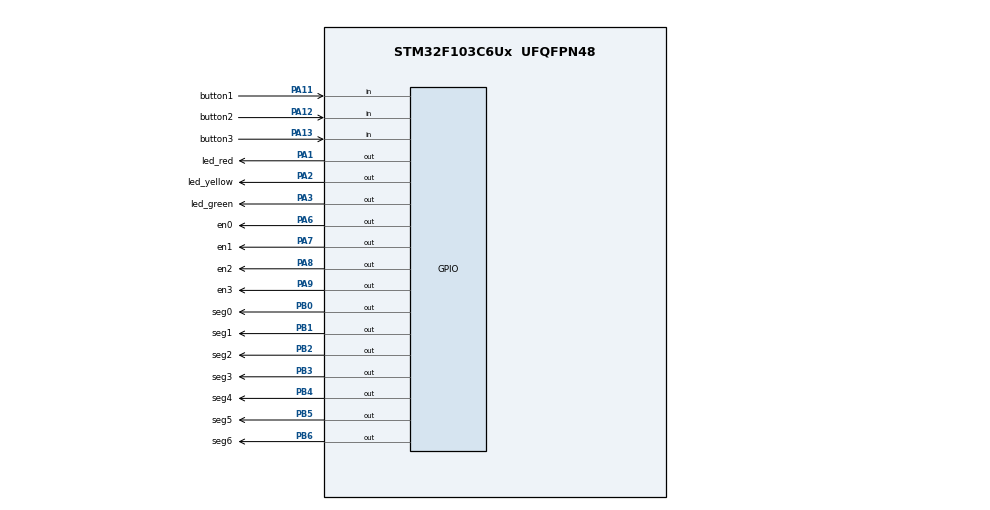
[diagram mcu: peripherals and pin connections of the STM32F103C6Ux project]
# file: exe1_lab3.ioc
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Mcu.Family=STM32F1
Mcu.Name=STM32F103C6Ux
Mcu.Package=UFQFPN48
NVIC.PriorityGroup=NVIC_PRIORITYGROUP_4
NVIC.TIM2_IRQn=true\:0\:0\:false\:false\:true\:true\:true\:true
PA1.GPIO_Label=led_red
PA1.Signal=GPIO_Output
PA11.GPIO_Label=button1
PA11.GPIO_PuPd=GPIO_PULLUP
PA11.Signal=GPIO_Input
PA12.GPIO_Label=button2
PA12.GPIO_PuPd=GPIO_PULLUP
PA12.Signal=GPIO_Input
PA13.GPIO_Label=button3
PA13.GPIO_PuPd=GPIO_PULLUP
PA13.Signal=GPIO_Input
PA2.GPIO_Label=led_yellow
PA2.Signal=GPIO_Output
PA3.GPIO_Label=led_green
PA3.Signal=GPIO_Output
PA6.GPIO_Label=en0
PA6.Signal=GPIO_Output
PA7.GPIO_Label=en1
PA7.Signal=GPIO_Output
PA8.GPIO_Label=en2
PA8.Signal=GPIO_Output
PA9.GPIO_Label=en3
PA9.Signal=GPIO_Output
PB0.GPIO_Label=seg0
PB0.Signal=GPIO_Output
PB1.GPIO_Label=seg1
PB1.Signal=GPIO_Output
PB2.GPIO_Label=seg2
PB2.Signal=GPIO_Output
PB3.GPIO_Label=seg3
PB3.Signal=GPIO_Output
PB4.GPIO_Label=seg4
PB4.Signal=GPIO_Output
PB5.GPIO_Label=seg5
PB5.Signal=GPIO_Output
PB6.GPIO_Label=seg6
PB6.Signal=GPIO_Output
ProjectManager.HeapSize=0x200
ProjectManager.StackSize=0x400
ProjectManager.TargetToolchain=STM32CubeIDE
RCC.APB1Freq_Value=8000000
RCC.APB2Freq_Value=8000000
TIM2.Period=9
TIM2.Prescaler=7999
VP_TIM2_VS_ClockSourceINT.Mode=Internal
board=custom

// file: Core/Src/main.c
/* USER CODE BEGIN Header */
/**
  ******************************************************************************
  * @file           : main.c
  * @brief          : Main program body
  ******************************************************************************
  * @attention
  *
  * Copyright (c) 2022 STMicroelectronics.
  * All rights reserved.
  *
  * This software is licensed under terms that can be found in the LICENSE file
  * in the root directory of this software component.
  * If no LICENSE file comes with this software, it is provided AS-IS.
  *
  ******************************************************************************
  */
/* USER CODE END Header */
#include "main.h"

/* USER CODE BEGIN Includes */
#include "global.h"
#include "manual.h"
#include "fsm.h"
/* USER CODE END Includes */

TIM_HandleTypeDef htim2;

void SystemClock_Config(void);
static void MX_GPIO_Init(void);
static void MX_TIM2_Init(void);

/* USER CODE BEGIN 0 */
int status = 0;
int red_time = 1;
int yellow_time = 1;
int green_time = 1;
void display7SEG(int num){
	  if(num == 0){
		  HAL_GPIO_WritePin(seg0_GPIO_Port, seg0_Pin, RESET);
		  HAL_GPIO_WritePin(seg1_GPIO_Port, seg1_Pin, RESET);
		  HAL_GPIO_WritePin(seg2_GPIO_Port, seg2_Pin, RESET);
		  HAL_GPIO_WritePin(seg3_GPIO_Port, seg3_Pin, RESET);
		  HAL_GPIO_WritePin(seg4_GPIO_Port, seg4_Pin, RESET);
		  HAL_GPIO_WritePin(seg5_GPIO_Port, seg5_Pin, RESET);
		  HAL_GPIO_WritePin(seg6_GPIO_Port, seg6_Pin, SET);
	  }
	  if(num == 1){
		  HAL_GPIO_WritePin(seg0_GPIO_Port, seg0_Pin, SET);
		  HAL_GPIO_WritePin(seg1_GPIO_Port, seg1_Pin, RESET);
		  HAL_GPIO_WritePin(seg2_GPIO_Port, seg2_Pin, RESET);
		  HAL_GPIO_WritePin(seg3_GPIO_Port, seg3_Pin, SET);
		  HAL_GPIO_WritePin(seg4_GPIO_Port, seg4_Pin, SET);
		  HAL_GPIO_WritePin(seg5_GPIO_Port, seg5_Pin, SET);
		  HAL_GPIO_WritePin(seg6_GPIO_Port, seg6_Pin, SET);
	  }
	  if(num == 2){
		  HAL_GPIO_WritePin(seg0_GPIO_Port, seg0_Pin, RESET);
		  HAL_GPIO_WritePin(seg1_GPIO_Port, seg1_Pin, RESET);
		  HAL_GPIO_WritePin(seg2_GPIO_Port, seg2_Pin, SET);
		  HAL_GPIO_WritePin(seg3_GPIO_Port, seg3_Pin, RESET);
		  HAL_GPIO_WritePin(seg4_GPIO_Port, seg4_Pin, RESET);
		  HAL_GPIO_WritePin(seg5_GPIO_Port, seg5_Pin, SET);
		  HAL_GPIO_WritePin(seg6_GPIO_Port, seg6_Pin, RESET);
	  }
	  if(num == 3){
		  HAL_GPIO_WritePin(seg0_GPIO_Port, seg0_Pin, RESET);
		  HAL_GPIO_WritePin(seg1_GPIO_Port, seg1_Pin, RESET);
		  HAL_GPIO_WritePin(seg2_GPIO_Port, seg2_Pin, RESET);
		  HAL_GPIO_WritePin(seg3_GPIO_Port, seg3_Pin, RESET);
		  HAL_GPIO_WritePin(seg4_GPIO_Port, seg4_Pin, SET);
		  HAL_GPIO_WritePin(seg5_GPIO_Port, seg5_Pin, SET);
		  HAL_GPIO_WritePin(seg6_GPIO_Port, seg6_Pin, RESET);
	  }
	  if(num == 4){
		  HAL_GPIO_WritePin(seg0_GPIO_Port, seg0_Pin, SET);
		  HAL_GPIO_WritePin(seg1_GPIO_Port, seg1_Pin, RESET);
		  HAL_GPIO_WritePin(seg2_GPIO_Port, seg2_Pin, RESET);
		  HAL_GPIO_WritePin(seg3_GPIO_Port, seg3_Pin, SET);
		  HAL_GPIO_WritePin(seg4_GPIO_Port, seg4_Pin, SET);
		  HAL_GPIO_WritePin(seg5_GPIO_Port, seg5_Pin, RESET);
		  HAL_GPIO_WritePin(seg6_GPIO_Port, seg6_Pin, RESET);
	  }
	  if(num == 5){
		  HAL_GPIO_WritePin(seg0_GPIO_Port, seg0_Pin, RESET);
		  HAL_GPIO_WritePin(seg1_GPIO_Port, seg1_Pin, SET);
		  HAL_GPIO_WritePin(seg2_GPIO_Port, seg2_Pin, RESET);
		  HAL_GPIO_WritePin(seg3_GPIO_Port, seg3_Pin, RESET);
		  HAL_GPIO_WritePin(seg4_GPIO_Port, seg4_Pin, SET);
		  HAL_GPIO_WritePin(seg5_GPIO_Port, seg5_Pin, RESET);
		  HAL_GPIO_WritePin(seg6_GPIO_Port, seg6_Pin, RESET);
	  }
	  if(num == 6){
		  HAL_GPIO_WritePin(seg0_GPIO_Port, seg0_Pin, RESET);
		  HAL_GPIO_WritePin(seg1_GPIO_Port, seg1_Pin, SET);
		  HAL_GPIO_WritePin(seg2_GPIO_Port, seg2_Pin, RESET);
		  HAL_GPIO_WritePin(seg3_GPIO_Port, seg3_Pin, RESET);
		  HAL_GPIO_WritePin(seg4_GPIO_Port, seg4_Pin, RESET);
		  HAL_GPIO_WritePin(seg5_GPIO_Port, seg5_Pin, RESET);
		  HAL_GPIO_WritePin(seg6_GPIO_Port, seg6_Pin, RESET);
	  }
	  if(num == 7){
		  HAL_GPIO_WritePin(seg0_GPIO_Port, seg0_Pin, RESET);
		  HAL_GPIO_WritePin(seg1_GPIO_Port, seg1_Pin, RESET);
		  HAL_GPIO_WritePin(seg2_GPIO_Port, seg2_Pin, RESET);
		  HAL_GPIO_WritePin(seg3_GPIO_Port, seg3_Pin, SET);
		  HAL_GPIO_WritePin(seg4_GPIO_Port, seg4_Pin, SET);
		  HAL_GPIO_WritePin(seg5_GPIO_Port, seg5_Pin, SET);
		  HAL_GPIO_WritePin(seg6_GPIO_Port, seg6_Pin, SET);
	  }
	  if(num == 8){
		  HAL_GPIO_WritePin(seg0_GPIO_Port, seg0_Pin, RESET);
		  HAL_GPIO_WritePin(seg1_GPIO_Port, seg1_Pin, RESET);
		  HAL_GPIO_WritePin(seg2_GPIO_Port, seg2_Pin, RESET);
		  HAL_GPIO_WritePin(seg3_GPIO_Port, seg3_Pin, RESET);
		  HAL_GPIO_WritePin(seg4_GPIO_Port, seg4_Pin, RESET);
		  HAL_GPIO_WritePin(seg5_GPIO_Port, seg5_Pin, RESET);
		  HAL_GPIO_WritePin(seg6_GPIO_Port, seg6_Pin, RESET);
	  }
	  if(num == 9){
		  HAL_GPIO_WritePin(seg0_GPIO_Port, seg0_Pin, RESET);
		  HAL_GPIO_WritePin(seg1_GPIO_Port, seg1_Pin, RESET);
		  HAL_GPIO_WritePin(seg2_GPIO_Port, seg2_Pin, RESET);
		  HAL_GPIO_WritePin(seg3_GPIO_Port, seg3_Pin, RESET);
		  HAL_GPIO_WritePin(seg4_GPIO_Port, seg4_Pin, SET);
		  HAL_GPIO_WritePin(seg5_GPIO_Port, seg5_Pin, RESET);
		  HAL_GPIO_WritePin(seg6_GPIO_Port, seg6_Pin, RESET);
	  }
};
const int MAX_LED = 4;
int index_led = 0;
int led_buffer [4] = {0, 1, 0, 1};
void update7SEG ( int index ){
	switch ( index ){
		case 0:
			// Display the first 7 SEG with led_buffer [0]
			HAL_GPIO_WritePin(en0_GPIO_Port, en0_Pin, RESET);
			HAL_GPIO_WritePin(en1_GPIO_Port, en1_Pin, SET);
			HAL_GPIO_WritePin(en2_GPIO_Port, en2_Pin, SET);
			HAL_GPIO_WritePin(en3_GPIO_Port, en3_Pin, SET);
			display7SEG(led_buffer[0]);
			break ;
		case 1:
			// Display the second 7 SEG with led_buffer [1]
			HAL_GPIO_WritePin(en0_GPIO_Port, en0_Pin, SET);
			HAL_GPIO_WritePin(en1_GPIO_Port, en1_Pin, RESET);
			HAL_GPIO_WritePin(en2_GPIO_Port, en2_Pin, SET);
			HAL_GPIO_WritePin(en3_GPIO_Port, en3_Pin, SET);
			display7SEG(led_buffer[1]);
			break ;
		case 2:
			// Display the third 7 SEG with led_buffer [2]
			HAL_GPIO_WritePin(en0_GPIO_Port, en0_Pin, SET);
			HAL_GPIO_WritePin(en1_GPIO_Port, en1_Pin, SET);
			HAL_GPIO_WritePin(en2_GPIO_Port, en2_Pin, RESET);
			HAL_GPIO_WritePin(en3_GPIO_Port, en3_Pin, SET);
			display7SEG(led_buffer[2]);
			break ;
		case 3:
			// Display the forth 7 SEG with led_buffer [3]
			HAL_GPIO_WritePin(en0_GPIO_Port, en0_Pin, SET);
			HAL_GPIO_WritePin(en1_GPIO_Port, en1_Pin, SET);
			HAL_GPIO_WritePin(en2_GPIO_Port, en2_Pin, SET);
			HAL_GPIO_WritePin(en3_GPIO_Port, en3_Pin, RESET);
			display7SEG(led_buffer[3]);
			break ;
		default :
			break ;
	 }
}
void updateBuffer (int time, int job){
	if (time <= 9){
		led_buffer[0] = 0;
		led_buffer[1] = time;
	}else{
		led_buffer[0] = time/10;
		led_buffer[1] = time%10;
	}
	led_buffer[3] = job;
}
/* USER CODE END 0 */

int main(void)
{

  /* MCU Configuration--------------------------------------------------------*/

  /* Reset of all peripherals, Initializes the Flash interface and the Systick. */
  HAL_Init();

  /* Configure the system clock */
  SystemClock_Config();

  /* Initialize all configured peripherals */
  MX_GPIO_Init();
  MX_TIM2_Init();
  /* USER CODE BEGIN 2 */
  HAL_TIM_Base_Start_IT (& htim2 );
  /* USER CODE END 2 */

  /* Infinite loop */
  /* USER CODE BEGIN WHILE */
  setTimer(2);
  setTimer1(10);
  setTimer2(10);
  status = NORMAL;
  while (1)
  {
	  fsm_run();
	  manual();
	  if (index_led >= 4) index_led = 0;
	  if( timer2_flag == 1){
		  update7SEG(index_led++);
		  setTimer2(25);
	  }
	  if( timer2_flag == 1){
		  update7SEG(index_led++);
		  setTimer2(25);
	  }
	  if( timer2_flag == 1){
		  update7SEG(index_led++);
		  setTimer2(25);
	  }
	  if( timer2_flag == 1){
		  update7SEG(index_led++);
		  setTimer2(25);
	  }
    /* USER CODE END WHILE */

  }
}

void SystemClock_Config(void)
{
  RCC_OscInitTypeDef RCC_OscInitStruct = {0};
  RCC_ClkInitTypeDef RCC_ClkInitStruct = {0};

  /** Initializes the RCC Oscillators according to the specified parameters
  * in the RCC_OscInitTypeDef structure.
  */
  RCC_OscInitStruct.OscillatorType = RCC_OSCILLATORTYPE_HSI;
  RCC_OscInitStruct.HSIState = RCC_HSI_ON;
  RCC_OscInitStruct.HSICalibrationValue = RCC_HSICALIBRATION_DEFAULT;
  RCC_OscInitStruct.PLL.PLLState = RCC_PLL_NONE;
  if (HAL_RCC_OscConfig(&RCC_OscInitStruct) != HAL_OK)
  {
    Error_Handler();
  }

  /** Initializes the CPU, AHB and APB buses clocks
  */
  RCC_ClkInitStruct.ClockType = RCC_CLOCKTYPE_HCLK|RCC_CLOCKTYPE_SYSCLK
                              |RCC_CLOCKTYPE_PCLK1|RCC_CLOCKTYPE_PCLK2;
  RCC_ClkInitStruct.SYSCLKSource = RCC_SYSCLKSOURCE_HSI;
  RCC_ClkInitStruct.AHBCLKDivider = RCC_SYSCLK_DIV1;
  RCC_ClkInitStruct.APB1CLKDivider = RCC_HCLK_DIV1;
  RCC_ClkInitStruct.APB2CLKDivider = RCC_HCLK_DIV1;

  if (HAL_RCC_ClockConfig(&RCC_ClkInitStruct, FLASH_LATENCY_0) != HAL_OK)
  {
    Error_Handler();
  }
}

static void MX_TIM2_Init(void)
{

  TIM_ClockConfigTypeDef sClockSourceConfig = {0};
  TIM_MasterConfigTypeDef sMasterConfig = {0};

  htim2.Instance = TIM2;
  htim2.Init.Prescaler = 7999;
  htim2.Init.CounterMode = TIM_COUNTERMODE_UP;
  htim2.Init.Period = 9;
  htim2.Init.ClockDivision = TIM_CLOCKDIVISION_DIV1;
  htim2.Init.AutoReloadPreload = TIM_AUTORELOAD_PRELOAD_DISABLE;
  if (HAL_TIM_Base_Init(&htim2) != HAL_OK)
  {
    Error_Handler();
  }
  sClockSourceConfig.ClockSource = TIM_CLOCKSOURCE_INTERNAL;
  if (HAL_TIM_ConfigClockSource(&htim2, &sClockSourceConfig) != HAL_OK)
  {
    Error_Handler();
  }
  sMasterConfig.MasterOutputTrigger = TIM_TRGO_RESET;
  sMasterConfig.MasterSlaveMode = TIM_MASTERSLAVEMODE_DISABLE;
  if (HAL_TIMEx_MasterConfigSynchronization(&htim2, &sMasterConfig) != HAL_OK)
  {
    Error_Handler();
  }

}

static void MX_GPIO_Init(void)
{
  GPIO_InitTypeDef GPIO_InitStruct = {0};

  /* GPIO Ports Clock Enable */
  __HAL_RCC_GPIOA_CLK_ENABLE();
  __HAL_RCC_GPIOB_CLK_ENABLE();

  /*Configure GPIO pin Output Level */
  HAL_GPIO_WritePin(GPIOA, led_red_Pin|led_yellow_Pin|led_green_Pin|en0_Pin
                          |en1_Pin|en2_Pin|en3_Pin, GPIO_PIN_RESET);

  /*Configure GPIO pin Output Level */
  HAL_GPIO_WritePin(GPIOB, seg0_Pin|seg1_Pin|seg2_Pin|seg3_Pin
                          |seg4_Pin|seg5_Pin|seg6_Pin, GPIO_PIN_RESET);

  /*Configure GPIO pins : led_red_Pin led_yellow_Pin led_green_Pin en0_Pin
                           en1_Pin en2_Pin en3_Pin */
  GPIO_InitStruct.Pin = led_red_Pin|led_yellow_Pin|led_green_Pin|en0_Pin
                          |en1_Pin|en2_Pin|en3_Pin;
  GPIO_InitStruct.Mode = GPIO_MODE_OUTPUT_PP;
  GPIO_InitStruct.Pull = GPIO_NOPULL;
  GPIO_InitStruct.Speed = GPIO_SPEED_FREQ_LOW;
  HAL_GPIO_Init(GPIOA, &GPIO_InitStruct);

  /*Configure GPIO pins : seg0_Pin seg1_Pin seg2_Pin seg3_Pin
                           seg4_Pin seg5_Pin seg6_Pin */
  GPIO_InitStruct.Pin = seg0_Pin|seg1_Pin|seg2_Pin|seg3_Pin
                          |seg4_Pin|seg5_Pin|seg6_Pin;
  GPIO_InitStruct.Mode = GPIO_MODE_OUTPUT_PP;
  GPIO_InitStruct.Pull = GPIO_NOPULL;
  GPIO_InitStruct.Speed = GPIO_SPEED_FREQ_LOW;
  HAL_GPIO_Init(GPIOB, &GPIO_InitStruct);

  /*Configure GPIO pins : button1_Pin button2_Pin button3_Pin */
  GPIO_InitStruct.Pin = button1_Pin|button2_Pin|button3_Pin;
  GPIO_InitStruct.Mode = GPIO_MODE_INPUT;
  GPIO_InitStruct.Pull = GPIO_PULLUP;
  HAL_GPIO_Init(GPIOA, &GPIO_InitStruct);

}

/* USER CODE BEGIN 4 */
void HAL_TIM_PeriodElapsedCallback ( TIM_HandleTypeDef * htim ){
	timerRun();
	getKeyInput();
}
/* USER CODE END 4 */

void Error_Handler(void)
{
  __disable_irq();
  while (1)
  {
  }
}
